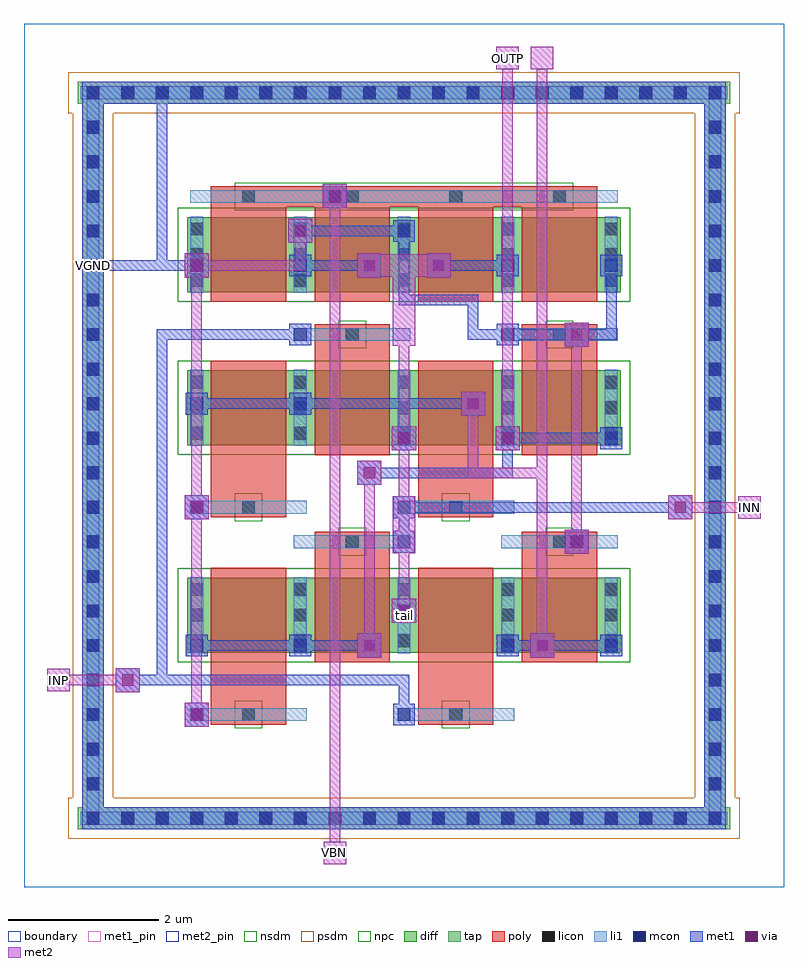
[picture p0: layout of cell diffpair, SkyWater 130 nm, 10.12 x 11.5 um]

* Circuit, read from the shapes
.subckt diffpair INN INP OUTN OUTP VBN VGND tail
XM1 OUTP VGND OUTP VGND sky130_fd_pr__nfet_01v8 w=1 l=1 m=2
XM2 OUTN VGND OUTN VGND sky130_fd_pr__nfet_01v8 w=1 l=1 m=2
XM3 tail VBN VGND VGND sky130_fd_pr__nfet_01v8 w=1 l=1 m=4
XM4 tail INN OUTP VGND sky130_fd_pr__nfet_01v8 w=1 l=1 m=2
XM5 tail INP OUTN VGND sky130_fd_pr__nfet_01v8 w=1 l=1 m=2
.ends

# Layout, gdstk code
import gdstk
lib = gdstk.Library(unit=1e-6, precision=1e-09)
def R(c, l, rs):  # rectangles x0, y0, x1, y1
    for r in rs: c.add(gdstk.rectangle(r[:2], r[2:], *l))
def A(c, l, x, y, w, h, nx, ny, dx, dy):  # array of equal rectangles
    R(c, l, [(x+i*dx, y+j*dy, x+i*dx+w, y+j*dy+h) for i in range(nx) for j in range(ny)])
diff = (65, 20)
tap = (65, 44)
poly = (66, 20)
licon = (66, 44)
li1 = (67, 20)
mcon = (67, 44)
met1_pin = (68, 16)
met1 = (68, 20)
via = (68, 44)
met2_pin = (69, 16)
met2 = (69, 20)
nsdm = (93, 44)
psdm = (94, 20)
npc = (95, 20)
boundary = (235, 4)

diffpair = lib.new_cell('diffpair')
R(diffpair, diff, [(2.175,3.125,7.945,4.125), (2.175,5.885,7.945,6.885), (2.175,7.925,7.945,8.925)])
R(diffpair, tap, [(0.715,0.775,9.405,1.065), (0.775,0.775,1.065,10.725), (9.055,0.775,9.345,10.725), (0.715,10.435,9.405,10.725)])
A(diffpair, poly, 2.49, 7.795, 1, 1.405, 4, 1, 1.38, 0)
R(diffpair, poly, [(2.49,2.165,3.49,2.435), (5.25,2.165,6.25,2.435), (2.49,2.3,3.49,4.255), (5.25,2.3,6.25,4.255), (3.87,2.995,4.87,4.6), (6.63,2.995,7.63,4.6), (3.87,4.465,4.87,4.735), (6.63,4.465,7.63,4.735), (2.49,4.925,3.49,5.195), (5.25,4.925,6.25,5.195), (2.49,5.06,3.49,7.015), (5.25,5.06,6.25,7.015), (3.87,5.755,4.87,7.36), (6.63,5.755,7.63,7.36), (3.87,7.225,4.87,7.495), (6.63,7.225,7.63,7.495), (2.49,9.065,7.63,9.335)])
A(diffpair, licon, 0.835, 0.835, 0.17, 0.17, 19, 2, 0.46, 9.66)
A(diffpair, licon, 0.835, 1.295, 0.17, 0.17, 1, 20, 0, 0.46)
A(diffpair, licon, 9.115, 1.295, 0.17, 0.17, 1, 20, 0, 0.46)
A(diffpair, licon, 2.215, 3.2, 0.17, 0.17, 5, 3, 1.38, 0.34)
A(diffpair, licon, 2.215, 5.96, 0.17, 0.17, 5, 3, 1.38, 0.34)
A(diffpair, licon, 2.215, 8, 0.17, 0.17, 5, 3, 1.38, 0.34)
A(diffpair, licon, 2.905, 9.115, 0.17, 0.17, 4, 1, 1.38, 0)
R(diffpair, licon, [(2.905,2.215,3.075,2.385), (5.665,2.215,5.835,2.385), (4.285,4.515,4.455,4.685), (7.045,4.515,7.215,4.685), (2.905,4.975,3.075,5.145), (5.665,4.975,5.835,5.145), (4.285,7.275,4.455,7.445), (7.045,7.275,7.215,7.445)])
A(diffpair, li1, 2.215, 3.12, 0.17, 1.01, 5, 2, 1.38, 2.76)
A(diffpair, li1, 2.215, 7.92, 0.17, 1.01, 5, 1, 1.38, 0)
R(diffpair, li1, [(0.755,0.835,9.365,1.005), (0.835,0.835,1.005,10.665), (9.115,0.835,9.285,10.665), (2.215,2.215,3.765,2.385), (4.975,2.215,6.525,2.385), (3.595,4.515,5.145,4.685), (6.355,4.515,7.905,4.685), (2.215,4.975,3.765,5.145), (4.975,4.975,6.525,5.145), (3.595,7.275,5.145,7.445), (6.355,7.275,7.905,7.445), (2.215,9.115,7.905,9.285), (0.755,10.495,9.365,10.665)])
A(diffpair, mcon, 0.835, 0.835, 0.17, 0.17, 19, 2, 0.46, 9.66)
A(diffpair, mcon, 0.835, 1.295, 0.17, 0.17, 1, 4, 0, 0.46)
A(diffpair, mcon, 9.115, 1.295, 0.17, 0.17, 1, 4, 0, 0.46)
A(diffpair, mcon, 0.835, 3.135, 0.17, 0.17, 3, 2, 1.38, 3.22)
A(diffpair, mcon, 6.355, 3.135, 0.17, 0.17, 3, 2, 1.38, 5.06)
A(diffpair, mcon, 0.835, 3.595, 0.17, 0.17, 3, 2, 4.14, 5.06)
A(diffpair, mcon, 0.835, 4.055, 0.17, 0.17, 1, 5, 0, 0.46)
A(diffpair, mcon, 9.115, 4.055, 0.17, 0.17, 1, 4, 0, 0.46)
A(diffpair, mcon, 4.975, 5.895, 0.17, 0.17, 4, 1, 1.38, 0)
A(diffpair, mcon, 0.835, 7.275, 0.17, 0.17, 4, 1, 2.76, 0)
A(diffpair, mcon, 0.835, 8.195, 0.17, 0.17, 3, 1, 1.38, 0)
A(diffpair, mcon, 0.835, 9.115, 0.17, 0.17, 1, 3, 0, 0.46)
A(diffpair, mcon, 9.115, 9.115, 0.17, 0.17, 1, 3, 0, 0.46)
R(diffpair, mcon, [(2.215,2.215,2.385,2.385), (4.975,2.215,5.145,2.385), (4.975,4.515,5.145,4.685), (7.275,4.515,7.445,4.685), (2.215,4.975,2.385,5.145), (4.975,4.975,5.145,5.145), (9.115,6.355,9.285,6.525), (0.835,6.815,1.005,6.985), (9.115,6.815,9.285,6.985), (0.835,7.735,1.005,7.905), (9.115,7.735,9.285,7.905), (4.055,9.115,4.225,9.285)])
R(diffpair, met1_pin, [(0.85,8.21,0.99,8.35)])
A(diffpair, met1, 4.915, 5.835, 0.29, 0.29, 3, 1, 1.38, 0)
A(diffpair, met1, 3.535, 6.295, 0.29, 0.29, 1, 3, 0, 0.92)
R(diffpair, met1, [(0.775,0.775,9.345,1.065), (0.775,0.775,1.065,10.725), (9.055,0.775,9.345,10.725), (2.14,2.14,2.46,2.46), (2.155,2.155,2.445,2.445), (4.915,2.155,5.205,2.445), (4.99,2.23,5.13,2.83), (1.22,2.6,1.54,2.92), (1.31,2.69,5.13,2.83), (1.77,2.69,1.91,7.43), (4.44,3.06,4.76,3.38), (6.74,3.06,7.06,3.38), (2.155,3.075,2.445,3.365), (3.535,3.075,3.825,3.365), (6.295,3.075,6.585,3.365), (7.675,3.075,7.965,3.365), (2.23,3.15,3.75,3.29), (3.61,3.15,4.67,3.29), (6.37,3.15,7.89,3.29), (4.9,3.52,5.22,3.84), (4.915,3.535,5.205,3.825), (7.2,4.44,7.52,4.76), (4.915,4.455,5.205,4.745), (7.215,4.455,7.505,4.745), (4.99,4.53,5.13,5.13), (2.14,4.9,2.46,5.22), (8.58,4.9,8.9,5.22), (2.155,4.915,2.445,5.205), (4.915,4.915,5.205,5.205), (4.99,4.99,8.81,5.13), (4.44,5.36,4.76,5.68), (4.53,5.45,6.51,5.59), (6.37,5.45,6.51,6.05), (4.9,5.82,5.22,6.14), (6.28,5.82,6.6,6.14), (6.37,5.91,7.89,6.05), (5.82,6.28,6.14,6.6), (2.155,6.295,2.445,6.585), (2.23,6.37,3.75,6.51), (3.61,6.37,6.05,6.51), (7.2,7.2,7.52,7.52), (6.295,7.215,6.585,7.505), (1.77,7.29,3.75,7.43), (5.91,7.29,6.05,7.89), (5.91,7.29,6.51,7.43), (6.37,7.29,7.89,7.43), (7.75,7.29,7.89,8.35), (4.99,7.75,6.05,7.89), (4.99,7.75,5.13,8.81), (2.14,8.12,2.46,8.44), (4.44,8.12,4.76,8.44), (5.36,8.12,5.68,8.44), (2.155,8.135,2.445,8.425), (6.295,8.135,6.585,8.425), (7.675,8.135,7.965,8.425), (0.85,8.21,2.37,8.35), (0.85,8.21,0.99,8.35), (1.77,8.21,1.91,10.65), (3.61,8.21,4.67,8.35), (5.45,8.21,6.51,8.35), (3.52,8.58,3.84,8.9), (4.915,8.595,5.205,8.885), (3.61,8.67,5.13,8.81), (3.98,9.04,4.3,9.36), (3.995,9.055,4.285,9.345), (0.775,10.435,9.345,10.725), (1.77,10.51,1.91,10.65)])
R(diffpair, via, [(2.225,2.225,2.375,2.375), (1.305,2.685,1.455,2.835), (4.525,3.145,4.675,3.295), (6.825,3.145,6.975,3.295), (4.985,3.605,5.135,3.755), (7.285,4.525,7.435,4.675), (2.225,4.985,2.375,5.135), (8.665,4.985,8.815,5.135), (4.525,5.445,4.675,5.595), (4.985,5.905,5.135,6.055), (6.365,5.905,6.515,6.055), (5.905,6.365,6.055,6.515), (7.285,7.285,7.435,7.435), (2.225,8.205,2.375,8.355), (4.525,8.205,4.675,8.355), (5.445,8.205,5.595,8.355), (3.605,8.665,3.755,8.815), (4.065,9.125,4.215,9.275)])
R(diffpair, met2_pin, [(3.99,0.31,4.29,0.61), (0.31,2.61,0.61,2.91), (9.51,4.91,9.81,5.21), (6.29,10.89,6.59,11.19), (6.75,10.89,7.05,11.19)])
R(diffpair, met2, [(3.99,0.31,4.29,0.61), (4.07,0.39,4.21,0.53), (4.07,0.39,4.21,9.27), (2.14,2.14,2.46,2.46), (2.23,2.23,2.37,5.13), (1.22,2.6,1.54,2.92), (0.31,2.61,0.61,2.91), (0.39,2.69,0.53,2.83), (0.39,2.69,1.45,2.83), (4.44,3.06,4.76,3.38), (6.74,3.06,7.06,3.38), (4.53,3.15,4.67,5.59), (6.83,3.15,6.97,11.11), (4.9,3.52,5.22,3.84), (4.99,3.61,5.13,4.67), (7.2,4.44,7.52,4.76), (4.91,4.45,5.21,5.21), (7.29,4.53,7.43,7.43), (2.14,4.9,2.46,5.22), (8.58,4.9,8.9,5.22), (9.51,4.91,9.81,5.21), (2.23,4.99,2.37,8.35), (4.99,4.99,5.13,6.05), (8.67,4.99,9.73,5.13), (9.59,4.99,9.73,5.13), (4.44,5.36,4.76,5.68), (5.91,5.45,6.05,6.51), (5.91,5.45,6.97,5.59), (4.9,5.82,5.22,6.14), (6.28,5.82,6.6,6.14), (4.99,5.91,5.13,7.43), (6.37,5.91,6.51,11.11), (5.82,6.28,6.14,6.6), (7.2,7.2,7.52,7.52), (4.91,7.21,5.21,8.43), (2.14,8.12,2.46,8.44), (4.44,8.12,4.76,8.44), (5.36,8.12,5.68,8.44), (4.45,8.13,5.21,8.43), (4.91,8.13,5.67,8.43), (2.23,8.21,3.75,8.35), (3.61,8.21,3.75,8.81), (3.52,8.58,3.84,8.9), (3.98,9.04,4.3,9.36), (6.29,10.89,6.59,11.19), (6.75,10.89,7.05,11.19), (6.37,10.97,6.51,11.11), (6.83,10.97,6.97,11.11)])
R(diffpair, nsdm, [(2.05,3,8.07,4.25), (2.05,5.76,8.07,7.01), (2.05,7.8,8.07,9.05)])
R(diffpair, psdm, [(0.59,0.65,9.53,1.19), (0.65,1.19,1.19,10.31), (8.93,1.19,9.47,10.31), (0.59,10.31,9.53,10.85)])
R(diffpair, npc, [(2.805,2.115,3.175,2.485), (5.565,2.115,5.935,2.485), (4.185,4.415,4.555,4.785), (6.945,4.415,7.315,4.785), (2.805,4.875,3.175,5.245), (5.565,4.875,5.935,5.245), (4.185,7.175,4.555,7.545), (6.945,7.175,7.315,7.545), (2.805,9.015,7.315,9.385)])
R(diffpair, boundary, [(0,0,10.12,11.5)])
diffpair.add(gdstk.Label('tail', (5.06,3.625), layer=67, texttype=5))
diffpair.add(gdstk.Label('VGND', (0.92,8.28), layer=68, texttype=5))
diffpair.add(gdstk.Label('INP', (0.46,2.76), layer=69, texttype=5))
diffpair.add(gdstk.Label('INN', (9.66,5.06), layer=69, texttype=5))
diffpair.add(gdstk.Label('VBN', (4.14,0.46), layer=69, texttype=5))
diffpair.add(gdstk.Label('OUTP', (6.44,11.04), layer=69, texttype=5))
diffpair.add(gdstk.Label('OUTN', (6.9,11.04), layer=69, texttype=5))
diffpair.add(gdstk.Label('VGND', (0.92,8.28), layer=68, texttype=16))
diffpair.add(gdstk.Label('INP', (0.46,2.76), layer=69, texttype=16))
diffpair.add(gdstk.Label('INN', (9.66,5.06), layer=69, texttype=16))
diffpair.add(gdstk.Label('VBN', (4.14,0.46), layer=69, texttype=16))
diffpair.add(gdstk.Label('OUTP', (6.44,11.04), layer=69, texttype=16))
diffpair.add(gdstk.Label('OUTN', (6.9,11.04), layer=69, texttype=16))

lib.write_gds('diffpair.gds')
